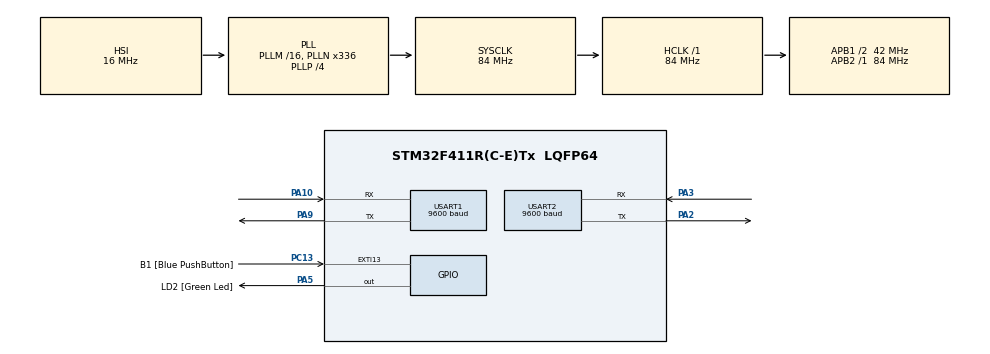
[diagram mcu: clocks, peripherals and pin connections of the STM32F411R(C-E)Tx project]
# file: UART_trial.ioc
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Mcu.Family=STM32F4
Mcu.Name=STM32F411R(C-E)Tx
Mcu.Package=LQFP64
NVIC.PriorityGroup=NVIC_PRIORITYGROUP_0
PA10.Mode=Asynchronous
PA10.Signal=USART1_RX
PA13.GPIO_Label=TMS
PA13.Mode=Serial_Wire
PA13.Signal=SYS_JTMS-SWDIO
PA14.GPIO_Label=TCK
PA14.Mode=Serial_Wire
PA14.Signal=SYS_JTCK-SWCLK
PA2.GPIO_ModeDefaultPP=GPIO_MODE_AF_PP
PA2.GPIO_PuPd=GPIO_NOPULL
PA2.GPIO_Speed=GPIO_SPEED_FREQ_VERY_HIGH
PA2.Mode=Asynchronous
PA2.Signal=USART2_TX
PA3.GPIO_ModeDefaultPP=GPIO_MODE_AF_PP
PA3.GPIO_PuPd=GPIO_NOPULL
PA3.GPIO_Speed=GPIO_SPEED_FREQ_VERY_HIGH
PA3.Mode=Asynchronous
PA3.Signal=USART2_RX
PA5.GPIO_Label=LD2 [Green Led]
PA5.Signal=GPIO_Output
PA9.Mode=Asynchronous
PA9.Signal=USART1_TX
PB3.GPIO_Label=SWO
PB3.Signal=SYS_JTDO-SWO
PC13-ANTI_TAMP.GPIO_Label=B1 [Blue PushButton]
PC13-ANTI_TAMP.GPIO_ModeDefaultEXTI=GPIO_MODE_IT_FALLING
PC13-ANTI_TAMP.Signal=GPXTI13
PC14-OSC32_IN.Mode=LSE-External-Oscillator
PC14-OSC32_IN.Signal=RCC_OSC32_IN
PC15-OSC32_OUT.Mode=LSE-External-Oscillator
PC15-OSC32_OUT.Signal=RCC_OSC32_OUT
PH0\ -\ OSC_IN.Mode=HSE-External-Clock-Source
PH0\ -\ OSC_IN.Signal=RCC_OSC_IN
PH1\ -\ OSC_OUT.Mode=HSE-External-Clock-Source
PH1\ -\ OSC_OUT.Signal=RCC_OSC_OUT
ProjectManager.HeapSize=0x200
ProjectManager.StackSize=0x400
ProjectManager.TargetToolchain=STM32CubeIDE
RCC.48MHZClocksFreq_Value=84000000
RCC.AHBFreq_Value=84000000
RCC.APB1CLKDivider=RCC_HCLK_DIV2
RCC.APB1Freq_Value=42000000
RCC.APB1TimFreq_Value=84000000
RCC.APB2Freq_Value=84000000
RCC.APB2TimFreq_Value=84000000
RCC.CortexFreq_Value=84000000
RCC.FLatency-AdvancedSettings=FLASH_LATENCY_2
RCC.HCLKFreq_Value=84000000
RCC.HSE_VALUE=8000000
RCC.HSI_VALUE=16000000
RCC.PLLN=336
RCC.PLLP=RCC_PLLP_DIV4
RCC.SYSCLKFreq_VALUE=84000000
RCC.SYSCLKSource=RCC_SYSCLKSOURCE_PLLCLK
RCC.VCOOutputFreq_Value=336000000
USART1.BaudRate=9600
USART1.VirtualMode=VM_ASYNC
USART2.BaudRate=9600
USART2.VirtualMode=VM_ASYNC
board=NUCLEO-F411RE

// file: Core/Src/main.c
/* USER CODE BEGIN Header */
/**
  ******************************************************************************
  * @file           : main.c
  * @brief          : Main program body
  ******************************************************************************
  * @attention
  *
  * Copyright (c) 2024 STMicroelectronics.
  * All rights reserved.
  *
  * This software is licensed under terms that can be found in the LICENSE file
  * in the root directory of this software component.
  * If no LICENSE file comes with this software, it is provided AS-IS.
  *
  ******************************************************************************
  */
/* USER CODE END Header */
#include "main.h"

/* USER CODE BEGIN Includes */
#include "string.h"
/* USER CODE END Includes */

/* USER CODE BEGIN PTD */
uint8_t tx_buffer[27];
uint8_t rx_indx;
uint8_t rx_data[1];
uint8_t rx_buffer[100];
uint8_t transfer_cplt;
/* USER CODE END PTD */

UART_HandleTypeDef huart1;
UART_HandleTypeDef huart2;

void SystemClock_Config(void);
static void MX_GPIO_Init(void);
static void MX_USART2_UART_Init(void);
static void MX_USART1_UART_Init(void);

int main(void)
{

  /* MCU Configuration--------------------------------------------------------*/

  /* Reset of all peripherals, Initializes the Flash interface and the Systick. */
  HAL_Init();

  /* Configure the system clock */
  SystemClock_Config();

  /* Initialize all configured peripherals */
  MX_GPIO_Init();
  MX_USART2_UART_Init();
  MX_USART1_UART_Init();
  /* USER CODE BEGIN 2 */

  HAL_UART_Receive_IT(&huart2, rx_data, 1);

  /* USER CODE END 2 */

  /* Infinite loop */
  /* USER CODE BEGIN WHILE */
  while (1)
  {
	  if(HAL_OK == HAL_UART_Receive(&huart2,rx_data,1,10)){
	  	  HAL_UART_Transmit(&huart1,rx_data,1,10);}

    /* USER CODE END WHILE */

  }
}

void SystemClock_Config(void)
{
  RCC_OscInitTypeDef RCC_OscInitStruct = {0};
  RCC_ClkInitTypeDef RCC_ClkInitStruct = {0};

  /** Configure the main internal regulator output voltage
  */
  __HAL_RCC_PWR_CLK_ENABLE();
  __HAL_PWR_VOLTAGESCALING_CONFIG(PWR_REGULATOR_VOLTAGE_SCALE1);

  /** Initializes the RCC Oscillators according to the specified parameters
  * in the RCC_OscInitTypeDef structure.
  */
  RCC_OscInitStruct.OscillatorType = RCC_OSCILLATORTYPE_HSI;
  RCC_OscInitStruct.HSIState = RCC_HSI_ON;
  RCC_OscInitStruct.HSICalibrationValue = RCC_HSICALIBRATION_DEFAULT;
  RCC_OscInitStruct.PLL.PLLState = RCC_PLL_ON;
  RCC_OscInitStruct.PLL.PLLSource = RCC_PLLSOURCE_HSI;
  RCC_OscInitStruct.PLL.PLLM = 16;
  RCC_OscInitStruct.PLL.PLLN = 336;
  RCC_OscInitStruct.PLL.PLLP = RCC_PLLP_DIV4;
  RCC_OscInitStruct.PLL.PLLQ = 4;
  if (HAL_RCC_OscConfig(&RCC_OscInitStruct) != HAL_OK)
  {
    Error_Handler();
  }

  /** Initializes the CPU, AHB and APB buses clocks
  */
  RCC_ClkInitStruct.ClockType = RCC_CLOCKTYPE_HCLK|RCC_CLOCKTYPE_SYSCLK
                              |RCC_CLOCKTYPE_PCLK1|RCC_CLOCKTYPE_PCLK2;
  RCC_ClkInitStruct.SYSCLKSource = RCC_SYSCLKSOURCE_PLLCLK;
  RCC_ClkInitStruct.AHBCLKDivider = RCC_SYSCLK_DIV1;
  RCC_ClkInitStruct.APB1CLKDivider = RCC_HCLK_DIV2;
  RCC_ClkInitStruct.APB2CLKDivider = RCC_HCLK_DIV1;

  if (HAL_RCC_ClockConfig(&RCC_ClkInitStruct, FLASH_LATENCY_2) != HAL_OK)
  {
    Error_Handler();
  }
}

static void MX_USART1_UART_Init(void)
{

  huart1.Instance = USART1;
  huart1.Init.BaudRate = 115200;
  huart1.Init.WordLength = UART_WORDLENGTH_8B;
  huart1.Init.StopBits = UART_STOPBITS_1;
  huart1.Init.Parity = UART_PARITY_NONE;
  huart1.Init.Mode = UART_MODE_TX_RX;
  huart1.Init.HwFlowCtl = UART_HWCONTROL_NONE;
  huart1.Init.OverSampling = UART_OVERSAMPLING_16;
  if (HAL_UART_Init(&huart1) != HAL_OK)
  {
    Error_Handler();
  }

}

static void MX_USART2_UART_Init(void)
{

  huart2.Instance = USART2;
  huart2.Init.BaudRate = 115200;
  huart2.Init.WordLength = UART_WORDLENGTH_8B;
  huart2.Init.StopBits = UART_STOPBITS_1;
  huart2.Init.Parity = UART_PARITY_NONE;
  huart2.Init.Mode = UART_MODE_TX_RX;
  huart2.Init.HwFlowCtl = UART_HWCONTROL_NONE;
  huart2.Init.OverSampling = UART_OVERSAMPLING_16;
  if (HAL_UART_Init(&huart2) != HAL_OK)
  {
    Error_Handler();
  }

}

static void MX_GPIO_Init(void)
{
  GPIO_InitTypeDef GPIO_InitStruct = {0};

  /* GPIO Ports Clock Enable */
  __HAL_RCC_GPIOC_CLK_ENABLE();
  __HAL_RCC_GPIOH_CLK_ENABLE();
  __HAL_RCC_GPIOA_CLK_ENABLE();
  __HAL_RCC_GPIOB_CLK_ENABLE();

  /*Configure GPIO pin Output Level */
  HAL_GPIO_WritePin(LD2_GPIO_Port, LD2_Pin, GPIO_PIN_RESET);

  /*Configure GPIO pin : B1_Pin */
  GPIO_InitStruct.Pin = B1_Pin;
  GPIO_InitStruct.Mode = GPIO_MODE_IT_FALLING;
  GPIO_InitStruct.Pull = GPIO_NOPULL;
  HAL_GPIO_Init(B1_GPIO_Port, &GPIO_InitStruct);

  /*Configure GPIO pin : LD2_Pin */
  GPIO_InitStruct.Pin = LD2_Pin;
  GPIO_InitStruct.Mode = GPIO_MODE_OUTPUT_PP;
  GPIO_InitStruct.Pull = GPIO_NOPULL;
  GPIO_InitStruct.Speed = GPIO_SPEED_FREQ_LOW;
  HAL_GPIO_Init(LD2_GPIO_Port, &GPIO_InitStruct);

}

/* USER CODE BEGIN 4 */

void HAL_UART_RxCpltCallback(UART_HandleTypeDef *huart)
{
  /* Prevent unused argument(s) compilation warning */
  UNUSED(huart);
  /* NOTE: This function should not be modified, when the callback is needed,
           the HAL_UART_RxCpltCallback could be implemented in the user file
   */
  uint8_t i;
  if(huart->Instance == USART2) {
	  if(rx_indx == 0) {
		  for(i=0;i<100;i++){
			  rx_buffer[i] = 0;
			  HAL_GPIO_WritePin(GPIOA, GPIO_PIN_5, 0);
		  }
		  HAL_UART_Transmit(&huart1,"",2,100);
		  HAL_UART_Transmit(&huart2, rx_data, 1, 10);
		  if (rx_data[0] != 13)  {
			  transfer_cplt = 1;
			  HAL_UART_Transmit(&huart2, "\n\rLED IS OFF\n\r", 18, 10);
		  }
		  else {
			  if(strcmp(rx_buffer,"\n\r")) {
				  transfer_cplt = 1;
				  HAL_GPIO_WritePin(GPIOA, GPIO_PIN_5, 1);
				  HAL_UART_Transmit(&huart2,"\n\rLED IS ON\n\r", 18, 10);
			  }

		  }
		  HAL_UART_Transmit(&huart1, rx_data, strlen(rx_data), 10);
		  HAL_UART_Receive_IT(&huart2, rx_data, 1);
	  }
  }
}

/* USER CODE END 4 */

void Error_Handler(void)
{
  __disable_irq();
  while (1)
  {
  }
}
